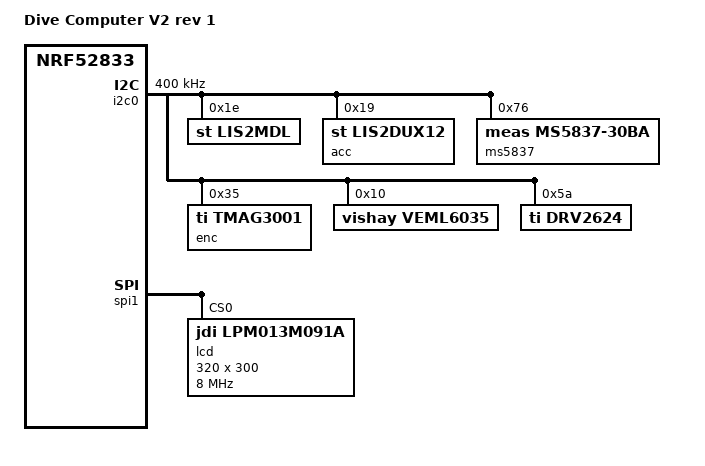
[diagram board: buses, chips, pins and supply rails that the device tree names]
/*
 * Dive Computer V2 rev 1 - nRF52833 QDAA (QFN40)
 *
 * Board hardware description, matching the KiCad schematic.
 * Power architecture: high-voltage mode (VDDH = battery on pin 9, VDD
 * pins decoupling only) - the internal REG0 LDO generates the 1.8 V
 * digital supply (REGOUT0 default), so all GPIO levels are 1.8 V.
 *
 * SPDX-License-Identifier: Apache-2.0
 */

/dts-v1/;
#include <nordic/nrf52833_qdaa.dtsi>
#include "dc_v2_1_nrf52833-pinctrl.dtsi"

/ {
	model = "Dive Computer V2 rev 1";
	compatible = "dive,dc-v2-1";

	chosen {
		zephyr,sram = &sram0;
		zephyr,flash = &flash0;
		zephyr,code-partition = &slot0_partition;
		/* No UART is routed on this board (no spare QFN40 GPIO);
		 * use SEGGER RTT over SWD for console output. */
	};

	/* GPIO pin assignments (gpio-leds/gpio-keys, sensor and screen
	 * control pins, SPI chip select) live in app.overlay so they are
	 * visible and editable in the Devicetree Visual Editor. */
};

/* GPIO ports and GPIOTE are disabled by default in the SoC dtsi;
 * enable them explicitly like the Nordic reference boards do. */
&gpiote {
	status = "okay";
};

&gpio0 {
	status = "okay";
};

&gpio1 {
	status = "okay";
};

/* P0.18/nRESET is wired to the debug connector: configure it as
 * hardware reset so a locked/sleeping device can always be
 * re-attached (same effect as nrfjprog --pinresetenable). */
&uicr {
	gpio-as-nreset;
};

&i2c0 {
	status = "okay";
	pinctrl-0 = <&i2c0_default>;
	pinctrl-1 = <&i2c0_sleep>;
	pinctrl-names = "default", "sleep";
	clock-frequency = <400000>;

	/* Magnetometer, I2C mode (CS pin tied high), fixed address.
	 * INT/DRDY not routed to the MCU: polled. */
	lis2mdl@1e {
		compatible = "st,lis2mdl";
		reg = <0x1e>;
	};

	/* Accelerometer, I2C mode (CS high), SA0 high. INT1 routed
	 * (wake-on-motion, assigned in app.overlay); INT2 not routed
	 * per pin budget decision. */
	acc: lis2dux12@19 {
		compatible = "st,lis2dux12";
		reg = <0x19>;
	};

	/* Pressure sensor, fixed address. */
	ms5837: ms5837@76 {
		compatible = "meas,ms5837-30ba";
		reg = <0x76>;
	};

	/* 3D Hall sensor for the rotary encoder, ADDR pin to GND. */
	enc: tmag3001@35 {
		compatible = "ti,tmag3001";
		reg = <0x35>;
	};

	/* Ambient light sensor (out-of-tree driver, fixed address). */
	veml6035@10 {
		compatible = "vishay,veml6035";
		reg = <0x10>;
	};

	/* Haptic driver, LRA 250 Hz (out-of-tree driver, fixed address). */
	drv2624@5a {
		compatible = "ti,drv2624";
		reg = <0x5a>;
	};
};

&spi1 {
	status = "okay";
	pinctrl-0 = <&spi1_default>;
	pinctrl-1 = <&spi1_sleep>;
	pinctrl-names = "default", "sleep";

	/* JDI LPM013M091A, 320x300 RGB111 memory-in-pixel, 3-wire 9-bit
	 * SPI (IM0=GND, DCX=VDDI). Out-of-tree display driver; TE (SYNC)
	 * input for tear-free updates. Chip select, reset and TE pins are
	 * assigned in app.overlay. */
	lcd: lpm013m091a@0 {
		compatible = "jdi,lpm013m091a";
		reg = <0>;
		spi-max-frequency = <8000000>;
		width = <320>;
		height = <300>;
	};
};

&flash0 {
	partitions {
		ranges;
		#address-cells = <1>;
		#size-cells = <1>;

		boot_partition: partition@0 {
			compatible = "zephyr,mapped-partition";
			label = "mcuboot";
			reg = <0x00000000 0xc000>;
		};

		slot0_partition: partition@c000 {
			compatible = "zephyr,mapped-partition";
			label = "image-0";
			reg = <0x0000c000 0x37000>;
		};

		slot1_partition: partition@43000 {
			compatible = "zephyr,mapped-partition";
			label = "image-1";
			reg = <0x00043000 0x37000>;
		};

		storage_partition: partition@7a000 {
			compatible = "zephyr,mapped-partition";
			label = "storage";
			reg = <0x0007a000 0x00006000>;
		};
	};
};
